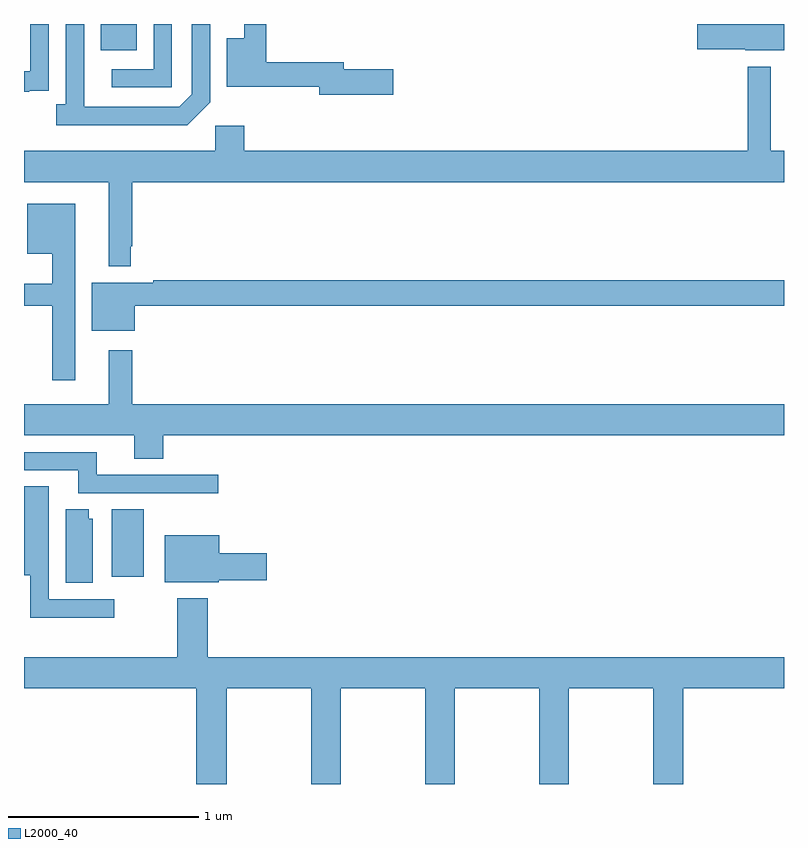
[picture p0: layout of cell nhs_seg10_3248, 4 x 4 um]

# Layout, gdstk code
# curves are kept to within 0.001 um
import gdstk
lib = gdstk.Library(unit=1e-6, precision=1e-09)
def R(c, l, rs):  # rectangles x0, y0, x1, y1
    for r in rs: c.add(gdstk.rectangle(r[:2], r[2:], *l))
def P(c, l, *ps):  # polygons
    for p in ps: c.add(gdstk.Polygon(p, *l))
L2000_40 = (2000, 40)

nhs_seg10_3248 = lib.new_cell('nhs_seg10_3248')
R(nhs_seg10_3248, L2000_40, [(287.462,1279.59,287.629,1279.946), (287.405,1282.361,287.593,1282.5)])
P(nhs_seg10_3248, L2000_40, [(291,1282.5),(290.544,1282.5),(290.544,1282.367),(290.796,1282.367),(290.796,1282.361),(291,1282.361)],
  [(287.778,1282.5),(287.682,1282.5),(287.682,1282.263),(287.463,1282.263),(287.463,1282.167),(287.778,1282.167)],
  [(287.027,1282.149),(287.129,1282.149),(287.129,1282.258),(287.13,1282.258),(287.13,1282.5),(287.034,1282.5),(287.034,1282.251),(287,1282.251),(287,1282.143),(287.027,1282.143)],
  [(287.979,1282.089),(287.979,1282.5),(287.883,1282.5),(287.883,1282.131),(287.817,1282.065),(287.317,1282.065),(287.316,1282.5),(287.22,1282.5),(287.22,1282.078),(287.169,1282.078),(287.169,1281.968),(287.858,1281.968)],
  [(288.943,1282.262),(288.682,1282.262),(288.682,1282.298),(288.275,1282.298),(288.275,1282.5),(288.158,1282.5),(288.158,1282.426),(288.068,1282.426),(288.068,1282.17),(288.554,1282.17),(288.554,1282.127),(288.943,1282.127)],
  [(287,1281.668),(287.447,1281.668),(287.447,1281.224),(287.562,1281.224),(287.562,1281.331),(287.569,1281.331),(287.569,1281.668),(291,1281.668),(291,1281.832),(290.929,1281.832),(290.929,1282.276),(290.808,1282.276),(290.808,1281.832),(288.158,1281.832),(288.158,1281.964),(288.006,1281.964),(288.006,1281.832),(287,1281.832)],
  [(287.269,1281.553),(287.018,1281.553),(287.018,1281.29),(287.148,1281.29),(287.148,1281.133),(287,1281.133),(287,1281.016),(287.148,1281.016),(287.148,1280.625),(287.269,1280.625)],
  [(287.584,1281.016),(291,1281.016),(291,1281.152),(287.68,1281.152),(287.68,1281.139),(287.357,1281.139),(287.357,1280.885),(287.584,1280.885)],
  [(287.732,1280.336),(291,1280.336),(291,1280.5),(287.569,1280.5),(287.569,1280.782),(287.447,1280.782),(287.447,1280.5),(287,1280.5),(287,1280.336),(287.579,1280.336),(287.579,1280.212),(287.732,1280.212)],
  [(288.022,1280.127),(287.384,1280.127),(287.384,1280.247),(287,1280.247),(287,1280.151),(287.285,1280.151),(287.285,1280.031),(287.725,1280.031),(287.725,1280.029),(288.022,1280.029)],
  [(287.476,1279.473),(287.131,1279.473),(287.131,1280.066),(287,1280.066),(287,1279.598),(287.033,1279.598),(287.033,1279.376),(287.476,1279.376)],
  [(287.362,1279.896),(287.341,1279.896),(287.341,1279.946),(287.219,1279.946),(287.219,1279.558),(287.362,1279.558)],
  [(288.024,1279.573),(288.277,1279.573),(288.277,1279.715),(288.028,1279.715),(288.028,1279.81),(287.741,1279.81),(287.741,1279.562),(288.024,1279.562)],
  [(288.066,1279.004),(288.511,1279.004),(288.511,1278.5),(288.666,1278.5),(288.666,1279.004),(289.111,1279.004),(289.111,1278.5),(289.266,1278.5),(289.266,1279.004),(289.711,1279.004),(289.711,1278.5),(289.866,1278.5),(289.866,1279.004),(290.311,1279.004),(290.311,1278.5),(290.471,1278.5),(290.471,1279.004),(291,1279.004),(291,1279.168),(287.966,1279.168),(287.966,1279.477),(287.806,1279.477),(287.806,1279.168),(287,1279.168),(287,1279.004),(287.906,1279.004),(287.906,1278.5),(288.066,1278.5)])

lib.write_gds('nhs_seg10_3248.gds')
